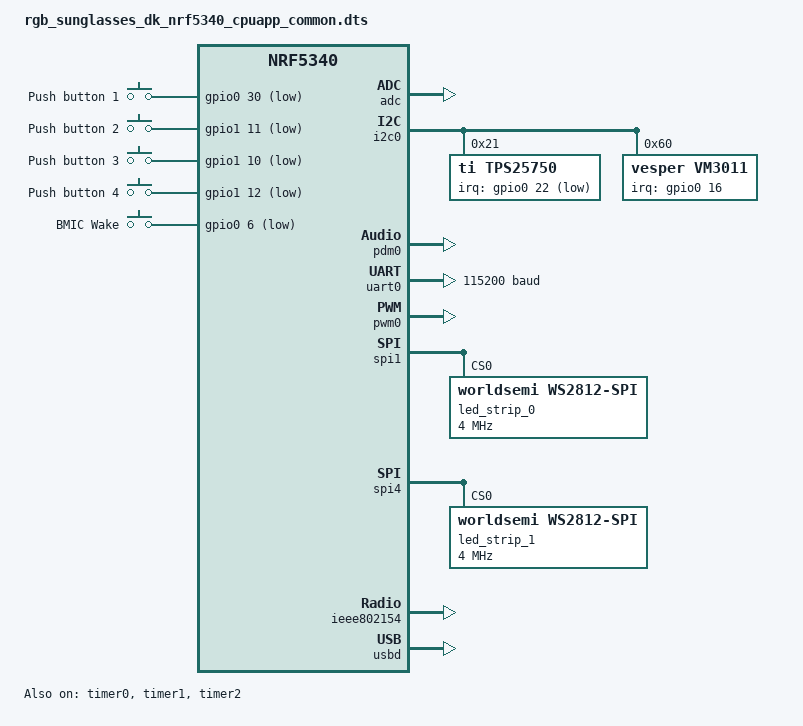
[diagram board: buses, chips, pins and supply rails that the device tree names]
/*
 * Copyright (c) 2019-2020 Nordic Semiconductor ASA
 *
 * SPDX-License-Identifier: Apache-2.0
 */
#include "rgb_sunglasses_dk_nrf5340_cpuapp_common-pinctrl.dtsi"

#include <freq.h>
#include <zephyr/dt-bindings/led/led.h>
#include <zephyr/dt-bindings/spi/spi.h>

/ {

	chosen {
		zephyr,console = &cdc_acm_uart0;
		zephyr,shell-uart = &cdc_acm_uart0;
		zephyr,uart-mcumgr = &cdc_acm_uart1;
		//zephyr,bt-mon-uart = &uart0; // @skalldri what does this do?
		//zephyr,bt-c2h-uart = &uart0; // @skalldri what does this do?
		zephyr,bt-hci = &bt_hci_ipc0;
		nordic,802154-spinel-ipc = &ipc0;
		zephyr,ieee802154 = &ieee802154;
	};

	/*leds {
		compatible = "gpio-leds";
		led0: led_0 {
			gpios = <&gpio0 28 GPIO_ACTIVE_LOW>;
			label = "Green LED 0";
		};
		led1: led_1 {
			gpios = <&gpio0 29 GPIO_ACTIVE_LOW>;
			label = "Green LED 1";
		};
		led2: led_2 {
			gpios = <&gpio0 30 GPIO_ACTIVE_LOW>;
			label = "Green LED 2";
		};
		led3: led_3 {
			gpios = <&gpio0 31 GPIO_ACTIVE_LOW>;
			label = "Green LED 3";
		};
	};*/

	/*pwmleds {
		compatible = "pwm-leds";
		pwm_led0: pwm_led_0 {
			pwms = <&pwm0 0 PWM_MSEC(20) PWM_POLARITY_INVERTED>;
		};
	};*/

	buttons {
		compatible = "gpio-keys";
		button0: button_0 {
			gpios = <&gpio0 30 (GPIO_PULL_UP | GPIO_ACTIVE_LOW)>;
			label = "Push button 1";
		};
		button1: button_1 {
			gpios = <&gpio1 11 (GPIO_PULL_UP | GPIO_ACTIVE_LOW)>;
			label = "Push button 2";
		};
		button2: button_2 {
			gpios = <&gpio1 10 (GPIO_PULL_UP | GPIO_ACTIVE_LOW)>;
			label = "Push button 3";
		};
		button3: button_3 {
			gpios = <&gpio1 12 (GPIO_PULL_UP | GPIO_ACTIVE_LOW)>;
			label = "Push button 4";
		};
		button4: bmic_wake {
			gpios = <&gpio0 6 (GPIO_PULL_UP | GPIO_ACTIVE_LOW)>;
			label = "BMIC Wake";
		};
	};

	// arduino_header: connector {
		//     compatible = "arduino-header-r3";
		//     #gpio-cells = <2>;
		//     gpio-map-mask = <0xffffffff 0xffffffc0>;
		//     gpio-map-pass-thru = <0 0x3f>;
		//     gpio-map = <0 0 &gpio0 4 0>,    /* A0 */
		//            <1 0 &gpio0 5 0>,    /* A1 */
		//            <2 0 &gpio0 6 0>,    /* A2 */
		//            <3 0 &gpio0 7 0>,    /* A3 */
		//            <4 0 &gpio0 25 0>,    /* A4 */
		//            <5 0 &gpio0 26 0>,    /* A5 */
		//            <6 0 &gpio1 0 0>,    /* D0 */
		//            <7 0 &gpio1 1 0>,    /* D1 */
		//            <8 0 &gpio1 4 0>,    /* D2 */
		//            <9 0 &gpio1 5 0>,    /* D3 */
		//            <10 0 &gpio1 6 0>,    /* D4 */
		//            <11 0 &gpio1 7 0>,    /* D5 */
		//            <12 0 &gpio1 8 0>,    /* D6 */
		//            <13 0 &gpio1 9 0>,    /* D7 */
		//            <14 0 &gpio1 10 0>,    /* D8 */
		//            <15 0 &gpio1 11 0>,    /* D9 */
		//            <16 0 &gpio1 12 0>,    /* D10 */
		//            <17 0 &gpio1 13 0>,    /* D11 */
		//            <18 0 &gpio1 14 0>,    /* D12 */
		//            <19 0 &gpio1 15 0>,    /* D13 */
		//            <20 0 &gpio1 2 0>,    /* D14 */
		//            <21 0 &gpio1 3 0>;    /* D15 */
	// };

	// arduino_adc: analog-connector {
		//     compatible = "arduino,uno-adc";
		//     #io-channel-cells = <1>;
		//     io-channel-map = <0 &adc 0>,    /* A0 = P0.4 = AIN0 */
		//              <1 &adc 1>,    /* A1 = P0.5 = AIN1 */
		//              <2 &adc 2>,    /* A2 = P0.6 = AIN2 */
		//              <3 &adc 3>,    /* A3 = P0.7 = AIN3 */
		//              <4 &adc 4>,    /* A4 = P0.25 = AIN4 */
		//              <5 &adc 5>;    /* A5 = P0.26 = AIN5 */
	// };

	gpio_fwd: nrf-gpio-forwarder {
		compatible = "nordic,nrf-gpio-forwarder";
		status = "okay";
		uart {
			gpios = <&gpio1 1 0>, <&gpio1 0 0>, <&gpio0 11 0>, <&gpio0 10 0>;
		};
	};

	/* These aliases are provided for compatibility with samples */
	aliases {
		/*led0 = &led0;
		led1 = &led1;
		led2 = &led2;
		led3 = &led3;
		pwm-led0 = &pwm_led0;*/
		sw0 = &button0;
		sw1 = &button1;
		sw2 = &button2;
		sw3 = &button3;
		sw-wake = &button4;
		/*bootloader-led0 = &led0;*/
		mcuboot-button0 = &button1;
		/*mcuboot-led0 = &led0;*/
		watchdog0 = &wdt0;
		led-strip-0 = &led_strip_0;
		led-strip-1 = &led_strip_1;
		/*spi-flash0 = &mx25r64;*/
		mic-control = &vm3011;
		mic = &pdm0;
	};
};

&adc {
	status = "okay";
};

&gpiote {
	status = "okay";
};

&gpio0 {
	status = "okay";
};

&gpio1 {
	status = "okay";
};

&i2c0 {
	compatible = "nordic,nrf-twim";
	status = "okay";
	pinctrl-0 = <&i2c0_default>;
	pinctrl-1 = <&i2c0_sleep>;
	pinctrl-names = "default", "sleep";

	tps25750: tps25750@21 {
		compatible = "ti,tps25750";
		reg = <0x21>; /* The address of the device in "normal" mode */
		patch-address = <0x15>; /* The address of the device during patch download */
		patch-chunk-size = <128>; /* the size of the packets sent during patch download */
		status = "okay";
		irq-gpios = <&gpio0 22 (GPIO_ACTIVE_LOW)>; /* Might need to add GPIO_PULL_UP or GPIO_PULL_DOWN here? */

		/* TPS25750 is also an I2C master. Define required properties */
		#address-cells = <1>;
		#size-cells = <0>;

		bq25792: bq25792@6b {
			compatible = "ti,bq25792";
			reg = <0x6B>;
			status = "okay";
		};
	};

	vm3011: vm3011@60 {
		compatible = "vesper,vm3011";
		reg = <0x60>;
		irq-gpios = <&gpio0 16 (GPIO_ACTIVE_HIGH)>;
		status = "okay";
	};
};

&clock {
	hfclkaudio-frequency = <12288000>;
};

&pdm0 {
	status = "okay";
	pinctrl-0 = <&pdm0_default>;
	pinctrl-names = "default";
	queue-size = <10>;
	clock-source = "PCLK32M";
};

&uart0 {
	//status = "okay";
	current-speed = <115200>;
	pinctrl-0 = <&uart0_default>;
	pinctrl-1 = <&uart0_sleep>;
	pinctrl-names = "default", "sleep";
};

&pwm0 {
	status = "okay";
	pinctrl-0 = <&pwm0_default>;
	pinctrl-1 = <&pwm0_sleep>;
	pinctrl-names = "default", "sleep";
};

&timer0 {
	status = "okay";
};

&timer1 {
	status = "okay";
};

&timer2 {
	status = "okay";
};

led_strip_spi_0: &spi1 {
	status = "okay";
	pinctrl-0 = <&spi1_default>;
	pinctrl-1 = <&spi1_sleep>;
	pinctrl-names = "default", "sleep";

	// Attach our LED strip to SPI1
	led_strip_0: ws2812@0 {
		compatible = "worldsemi,ws2812-spi";
		status = "okay";

		/* SPI */
		reg = <0>; /* ignored, but necessary for SPI bindings */
		spi-max-frequency = <DT_FREQ_M(4)>;
		frame-format = <SPI_FRAME_FORMAT_TI>;

		/* WS2812 */
		chain-length = <216>; /* arbitrary; change at will */
		spi-one-frame = <0x70>;
		spi-zero-frame = <0x40>;
		color-mapping = <LED_COLOR_ID_GREEN LED_COLOR_ID_RED LED_COLOR_ID_BLUE>;
	};
};

led_strip_spi_1: &spi4 {
	status = "okay";
	pinctrl-0 = <&spi4_default>;
	pinctrl-1 = <&spi4_sleep>;
	pinctrl-names = "default", "sleep";

	// Attach our LED strip to SPI1
	led_strip_1: ws2812_1@0 {
		compatible = "worldsemi,ws2812-spi";
		status = "okay";

		/* SPI */
		reg = <0>; /* ignored, but necessary for SPI bindings */
		spi-max-frequency = <DT_FREQ_M(4)>;
		frame-format = <SPI_FRAME_FORMAT_TI>;

		/* WS2812 */
		chain-length = <216>; /* arbitrary; change at will */
		spi-one-frame = <0x70>;
		spi-zero-frame = <0x40>;
		color-mapping = <LED_COLOR_ID_GREEN LED_COLOR_ID_RED LED_COLOR_ID_BLUE>;
	};
};

/* WARNING: these partition definitions do nothing because we are always building in multi-image mode, so we instead use Nordic's "Partition manager" */
&flash0 {
	status = "okay";
	partitions {
		compatible = "fixed-partitions";
		#address-cells = <1>;
		#size-cells = <1>;

		boot_partition: partition@0 {
			label = "mcuboot";
			reg = <0x00000000 0x00030000>;
		};
		slot0_partition: partition@30000 {
			label = "image-0";
		};
		slot1_partition: partition@90000 {
			label = "image-1";
		};
		scratch_partition: partition@f0000 {
			label = "image-scratch";
			reg = <0x000f0000 0xa000>;
		};
		storage_partition: partition@fa000 {
			label = "storage";
			reg = <0x000fa000 0x00006000>;
		};
	};
};

&ieee802154 {
	status = "okay";
};

zephyr_udc0: &usbd {
	compatible = "nordic,nrf-usbd";
	status = "okay";

	/* Add a USB UART device */
	cdc_acm_uart0: cdc_acm_uart0 {
		compatible = "zephyr,cdc-acm-uart";
	};

	cdc_acm_uart1: cdc_acm_uart1 {
		compatible = "zephyr,cdc-acm-uart";
	};
};

/ {
	reserved-memory {
		#address-cells = <1>;
		#size-cells = <1>;
		ranges;

		sram0_image: image@20000000 {
			/* Zephyr image(s) memory */
		};

		sram0_s: image_s@20000000 {
			/* Secure image memory */
		};

		sram0_ns: image_ns@20040000 {
			/* Non-Secure image memory */
		};
	};
};

/* Include partition configuration file */
#include "rgb_sunglasses_dk_nrf5340_cpuapp_partition_conf.dts"
